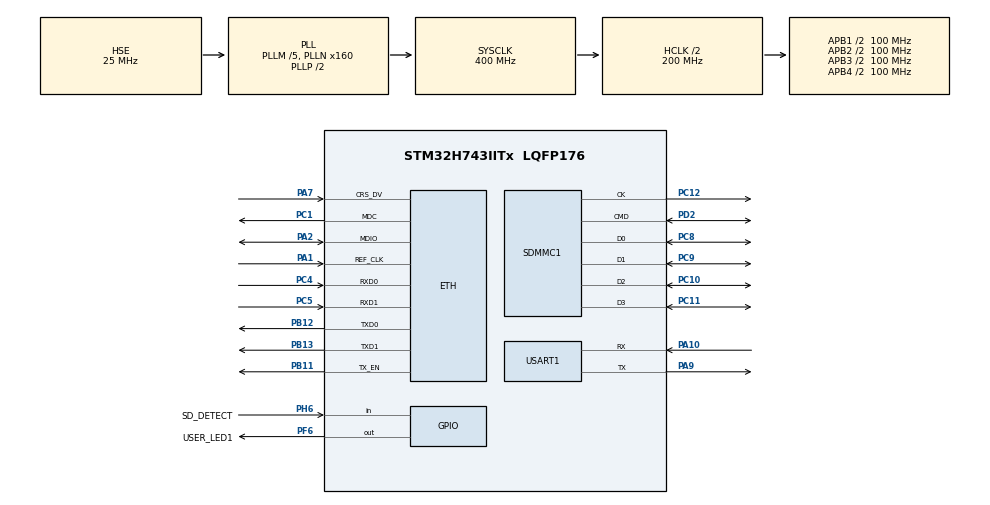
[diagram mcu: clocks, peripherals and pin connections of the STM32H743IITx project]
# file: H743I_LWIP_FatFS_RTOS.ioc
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CORTEX_M7.AccessPermission_S-Cortex_Memory_Protection_Unit_Region1_Settings_S=MPU_REGION_FULL_ACCESS
CORTEX_M7.AccessPermission_S-Cortex_Memory_Protection_Unit_Region2_Settings_S=MPU_REGION_FULL_ACCESS
CORTEX_M7.BaseAddress_S-Cortex_Memory_Protection_Unit_Region1_Settings_S=0x30020000
CORTEX_M7.BaseAddress_S-Cortex_Memory_Protection_Unit_Region2_Settings_S=0x30040000
CORTEX_M7.CPU_DCache=Enabled
CORTEX_M7.CPU_ICache=Enabled
CORTEX_M7.DisableExec_S-Cortex_Memory_Protection_Unit_Region1_Settings_S=MPU_INSTRUCTION_ACCESS_DISABLE
CORTEX_M7.DisableExec_S-Cortex_Memory_Protection_Unit_Region2_Settings_S=MPU_INSTRUCTION_ACCESS_DISABLE
CORTEX_M7.Enable_S-Cortex_Memory_Protection_Unit_Region1_Settings_S=MPU_REGION_ENABLE
CORTEX_M7.Enable_S-Cortex_Memory_Protection_Unit_Region2_Settings_S=MPU_REGION_ENABLE
CORTEX_M7.IsBufferable_S-Cortex_Memory_Protection_Unit_Region2_Settings_S=MPU_ACCESS_BUFFERABLE
CORTEX_M7.IsShareable_S-Cortex_Memory_Protection_Unit_Region2_Settings_S=MPU_ACCESS_SHAREABLE
CORTEX_M7.Size_S-Cortex_Memory_Protection_Unit_Region1_Settings_S=MPU_REGION_SIZE_128KB
CORTEX_M7.Size_S-Cortex_Memory_Protection_Unit_Region2_Settings_S=MPU_REGION_SIZE_512B
CORTEX_M7.TypeExtField_S-Cortex_Memory_Protection_Unit_Region1_Settings_S=MPU_TEX_LEVEL1
CORTEX_M7.default_mode_Activation=1
ETH.MediaInterface=HAL_ETH_RMII_MODE
ETH.RxBuffAddress=0x30040200
ETH.RxBuffLen=1536
ETH.RxDescAddress=0x30040000
ETH.TxDescAddress=0x30040100
FATFS.BSP.number=1
FATFS.USE_DMA_CODE_SD=1
FATFS._CODE_PAGE=936
FATFS._FS_TIMEOUT=0xfff
FATFS._USE_LFN=2
FATFS0.BSP.STBoard=false
FATFS0.BSP.api=Unknown
FATFS0.BSP.i2caddr=0
FATFS0.BSP.instance=PH6
FATFS0.BSP.ip=GPIO
FATFS0.BSP.mode=Input
FATFS0.BSP.name=Detect_SDIO
FATFS0.BSP.solution=PH6
FREERTOS.Tasks01=defaultTask,24,512,StartDefaultTask,Default,NULL,Dynamic,NULL,NULL
FREERTOS.configCHECK_FOR_STACK_OVERFLOW=1
FREERTOS.configMINIMAL_STACK_SIZE=512
FREERTOS.configTOTAL_HEAP_SIZE=30*1024
FREERTOS.configUSE_NEWLIB_REENTRANT=0
LWIP.BSP.number=1
LWIP.DEFAULT_THREAD_STACKSIZE=2048
LWIP.IP_ADDRESS=192.168.001.010
LWIP.LWIP_DHCP=0
LWIP.LWIP_RAM_HEAP_POINTER=0x30020000
LWIP.MEM_SIZE=131048
LWIP.NETMASK_ADDRESS=255.255.255.000
LWIP.TCPIP_THREAD_STACKSIZE=2048
LWIP.TCP_MSS=1460
LWIP.TCP_SND_BUF=5840
LWIP.TCP_SND_QUEUELEN=16
LWIP.TCP_WND=5840
LWIP.Version=v2.1.2_Cube
LWIP0.BSP.STBoard=false
LWIP0.BSP.api=BSP_COMPONENT_DRIVER
LWIP0.BSP.component=LAN8742
LWIP0.BSP.i2caddr=0
LWIP0.BSP.instance=LAN8742
LWIP0.BSP.name=Driver_PHY
LWIP0.BSP.semaphore=S_LAN8742
LWIP0.BSP.solution=LAN8742
Mcu.Family=STM32H7
Mcu.Name=STM32H743IITx
Mcu.Package=LQFP176
Mdma.MDMA_Channel0.Request0=SDMMC1_END_DATA
Mdma.MDMA_Channel0.RequestsNb=1
Mdma.MDMA_Channel0.SDMMC1_END_DATA.0.BlockCount=0
Mdma.MDMA_Channel0.SDMMC1_END_DATA.0.BlockDataLength=0
Mdma.MDMA_Channel0.SDMMC1_END_DATA.0.BufferTransferLength=1
Mdma.MDMA_Channel0.SDMMC1_END_DATA.0.CircularMode=MDMA_LINEAR_LIST
Mdma.MDMA_Channel0.SDMMC1_END_DATA.0.DataAlignment=MDMA_DATAALIGN_PACKENABLE
Mdma.MDMA_Channel0.SDMMC1_END_DATA.0.DestBlockAddressOffset=0
Mdma.MDMA_Channel0.SDMMC1_END_DATA.0.DestBurst=MDMA_DEST_BURST_SINGLE
Mdma.MDMA_Channel0.SDMMC1_END_DATA.0.DestDataSize=MDMA_DEST_DATASIZE_BYTE
Mdma.MDMA_Channel0.SDMMC1_END_DATA.0.DestinationInc=MDMA_DEST_INC_BYTE
Mdma.MDMA_Channel0.SDMMC1_END_DATA.0.DstAddress=0
Mdma.MDMA_Channel0.SDMMC1_END_DATA.0.Endianness=MDMA_LITTLE_ENDIANNESS_PRESERVE
Mdma.MDMA_Channel0.SDMMC1_END_DATA.0.Instance=MDMA_Channel0
Mdma.MDMA_Channel0.SDMMC1_END_DATA.0.MaskAddress=0
Mdma.MDMA_Channel0.SDMMC1_END_DATA.0.MaskData=0
Mdma.MDMA_Channel0.SDMMC1_END_DATA.0.Priority=MDMA_PRIORITY_LOW
Mdma.MDMA_Channel0.SDMMC1_END_DATA.0.Rank=First
Mdma.MDMA_Channel0.SDMMC1_END_DATA.0.SourceBlockAddressOffset=0
Mdma.MDMA_Channel0.SDMMC1_END_DATA.0.SourceBurst=MDMA_SOURCE_BURST_SINGLE
Mdma.MDMA_Channel0.SDMMC1_END_DATA.0.SourceDataSize=MDMA_SRC_DATASIZE_BYTE
Mdma.MDMA_Channel0.SDMMC1_END_DATA.0.SourceInc=MDMA_SRC_INC_BYTE
Mdma.MDMA_Channel0.SDMMC1_END_DATA.0.SrcAddress=0
Mdma.MDMA_Channel0.SDMMC1_END_DATA.0.TransferTriggerMode=MDMA_BUFFER_TRANSFER
Mdma.RequestSet0=MDMA_Channel0
Mdma.RequestSetsNb=1
NVIC.ETH_IRQn=true\:5\:0\:false\:false\:true\:true\:true\:true\:true
NVIC.MDMA_IRQn=true\:5\:0\:false\:false\:true\:true\:false\:true\:true
NVIC.PriorityGroup=NVIC_PRIORITYGROUP_4
NVIC.SDMMC1_IRQn=true\:5\:0\:false\:false\:true\:true\:true\:true\:true
NVIC.TIM6_DAC_IRQn=true\:15\:0\:false\:false\:true\:false\:false\:true\:true
NVIC.TimeBase=TIM6_DAC_IRQn
NVIC.TimeBaseIP=TIM6
PA1.GPIO_Speed=GPIO_SPEED_FREQ_VERY_HIGH
PA1.Mode=RMII
PA1.Signal=ETH_REF_CLK
PA10.Mode=Asynchronous
PA10.Signal=USART1_RX
PA13\ (JTMS/SWDIO).Mode=Serial_Wire
PA13\ (JTMS/SWDIO).Signal=DEBUG_JTMS-SWDIO
PA14\ (JTCK/SWCLK).Mode=Serial_Wire
PA14\ (JTCK/SWCLK).Signal=DEBUG_JTCK-SWCLK
PA2.GPIO_Speed=GPIO_SPEED_FREQ_VERY_HIGH
PA2.Mode=RMII
PA2.Signal=ETH_MDIO
PA7.GPIO_Speed=GPIO_SPEED_FREQ_VERY_HIGH
PA7.Mode=RMII
PA7.Signal=ETH_CRS_DV
PA9.Mode=Asynchronous
PA9.Signal=USART1_TX
PB11.GPIO_Speed=GPIO_SPEED_FREQ_VERY_HIGH
PB11.Mode=RMII
PB11.Signal=ETH_TX_EN
PB12.GPIO_Speed=GPIO_SPEED_FREQ_VERY_HIGH
PB12.Mode=RMII
PB12.Signal=ETH_TXD0
PB13.GPIO_Speed=GPIO_SPEED_FREQ_VERY_HIGH
PB13.Mode=RMII
PB13.Signal=ETH_TXD1
PC1.GPIO_Speed=GPIO_SPEED_FREQ_VERY_HIGH
PC1.Mode=RMII
PC1.Signal=ETH_MDC
PC10.GPIO_PuPd=GPIO_NOPULL
PC10.Mode=SD_4_bits_Wide_bus
PC10.Signal=SDMMC1_D2
PC11.GPIO_PuPd=GPIO_NOPULL
PC11.Mode=SD_4_bits_Wide_bus
PC11.Signal=SDMMC1_D3
PC12.GPIO_PuPd=GPIO_NOPULL
PC12.Mode=SD_4_bits_Wide_bus
PC12.Signal=SDMMC1_CK
PC4.GPIO_Speed=GPIO_SPEED_FREQ_VERY_HIGH
PC4.Mode=RMII
PC4.Signal=ETH_RXD0
PC5.GPIO_Speed=GPIO_SPEED_FREQ_VERY_HIGH
PC5.Mode=RMII
PC5.Signal=ETH_RXD1
PC8.GPIO_PuPd=GPIO_NOPULL
PC8.Mode=SD_4_bits_Wide_bus
PC8.Signal=SDMMC1_D0
PC9.GPIO_PuPd=GPIO_NOPULL
PC9.Mode=SD_4_bits_Wide_bus
PC9.Signal=SDMMC1_D1
PD2.GPIO_PuPd=GPIO_NOPULL
PD2.Mode=SD_4_bits_Wide_bus
PD2.Signal=SDMMC1_CMD
PF6.GPIO_Label=USER_LED1
PF6.Signal=GPIO_Output
PH0-OSC_IN\ (PH0).Mode=HSE-External-Oscillator
PH0-OSC_IN\ (PH0).Signal=RCC_OSC_IN
PH1-OSC_OUT\ (PH1).Mode=HSE-External-Oscillator
PH1-OSC_OUT\ (PH1).Signal=RCC_OSC_OUT
PH6.GPIO_Label=SD_DETECT
PH6.Signal=GPIO_Input
ProjectManager.HeapSize=0x200
ProjectManager.StackSize=0x1000
ProjectManager.TargetToolchain=MDK-ARM V5
RCC.ADCFreq_Value=300000000
RCC.APB1Freq_Value=100000000
RCC.APB2Freq_Value=100000000
RCC.APB3Freq_Value=100000000
RCC.APB4Freq_Value=100000000
RCC.CortexFreq_Value=400000000
RCC.D1PPRE=RCC_APB3_DIV2
RCC.D2PPRE1=RCC_APB1_DIV2
RCC.D2PPRE2=RCC_APB2_DIV2
RCC.D3PPRE=RCC_APB4_DIV2
RCC.DIVM1=5
RCC.DIVM2=5
RCC.DIVN1=160
RCC.DIVN2=120
RCC.DIVQ1=16
RCC.DIVQ2=6
RCC.DIVR2=6
RCC.HCLKFreq_Value=200000000
RCC.HPRE=RCC_HCLK_DIV2
RCC.HSE_VALUE=25000000
RCC.PLLSourceVirtual=RCC_PLLSOURCE_HSE
RCC.PWR_Regulator_Voltage_Scale=PWR_REGULATOR_VOLTAGE_SCALE1
RCC.SDMMC1CLockSelection=RCC_SDMMCCLKSOURCE_PLL2
RCC.SYSCLKFreq_VALUE=400000000
RCC.SYSCLKSource=RCC_SYSCLKSOURCE_PLLCLK
RCC.USBFreq_Value=50000000
SDMMC1.ClockDiv=10
SDMMC1.ClockPowerSave=SDMMC_CLOCK_POWER_SAVE_DISABLE
USART1.VirtualMode-Asynchronous=VM_ASYNC
VP_FATFS_VS_SDIO.Mode=SDIO
VP_FREERTOS_VS_CMSIS_V2.Mode=CMSIS_V2
VP_LWIP_VS_Enabled.Mode=Enabled
VP_SYS_VS_tim6.Mode=TIM6
board=custom

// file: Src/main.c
/* USER CODE BEGIN Header */
/**
  ******************************************************************************
  * @file           : main.c
  * @brief          : Main program body
  ******************************************************************************
  * @attention
  *
  * Copyright (c) 2024 STMicroelectronics.
  * All rights reserved.
  *
  * This software is licensed under terms that can be found in the LICENSE file
  * in the root directory of this software component.
  * If no LICENSE file comes with this software, it is provided AS-IS.
  *
  ******************************************************************************
  */
/* USER CODE END Header */
#include "main.h"
#include "cmsis_os.h"
#include "fatfs.h"
#include "lwip.h"

/* USER CODE BEGIN Includes */
/* ETH_CODE: add lwiperf, see comment in StartDefaultTask function */
#include "lwip/apps/lwiperf.h"
#include <stdio.h>
/* USER CODE END Includes */

SD_HandleTypeDef hsd1;

UART_HandleTypeDef huart1;

MDMA_HandleTypeDef hmdma_mdma_channel40_sdmmc1_end_data_0;
/* Definitions for defaultTask */
osThreadId_t defaultTaskHandle;
const osThreadAttr_t defaultTask_attributes = {
  .name = "defaultTask",
  .stack_size = 512 * 4,
  .priority = (osPriority_t) osPriorityNormal,
};

void SystemClock_Config(void);
static void MPU_Config(void);
static void MX_GPIO_Init(void);
static void MX_MDMA_Init(void);
static void MX_USART1_UART_Init(void);
static void MX_SDMMC1_SD_Init(void);
void StartDefaultTask(void *argument);

/* USER CODE BEGIN 0 */
#ifdef __GNUC__
#define PUTCHAR_PROTOTYPE int __io_putchar(int ch)
#else
#define PUTCHAR_PROTOTYPE int fputc(int ch, FILE *f)
#endif /* __GNUC__ */

PUTCHAR_PROTOTYPE
{
	HAL_UART_Transmit(&huart1, (uint8_t *)&ch, 1, HAL_MAX_DELAY);
	return ch;
}
/* USER CODE END 0 */

int main(void)
{

  /* MPU Configuration--------------------------------------------------------*/
  MPU_Config();

  /* Enable I-Cache---------------------------------------------------------*/
  SCB_EnableICache();

  /* Enable D-Cache---------------------------------------------------------*/
  //SCB_EnableDCache();

  /* MCU Configuration--------------------------------------------------------*/

  /* Reset of all peripherals, Initializes the Flash interface and the Systick. */
  HAL_Init();

  /* Configure the system clock */
  SystemClock_Config();

  /* Initialize all configured peripherals */
  MX_GPIO_Init();
  MX_MDMA_Init();
  MX_USART1_UART_Init();
  MX_SDMMC1_SD_Init();
  MX_FATFS_Init();

  /* Init scheduler */
  osKernelInitialize();

  /* Create the thread(s) */
  /* creation of defaultTask */
  defaultTaskHandle = osThreadNew(StartDefaultTask, NULL, &defaultTask_attributes);

  /* Start scheduler */
  osKernelStart();

  /* We should never get here as control is now taken by the scheduler */
  /* Infinite loop */
  while (1)
  {

  }
}

void SystemClock_Config(void)
{
  RCC_OscInitTypeDef RCC_OscInitStruct = {0};
  RCC_ClkInitTypeDef RCC_ClkInitStruct = {0};

  /** Supply configuration update enable
  */
  HAL_PWREx_ConfigSupply(PWR_LDO_SUPPLY);

  /** Configure the main internal regulator output voltage
  */
  __HAL_PWR_VOLTAGESCALING_CONFIG(PWR_REGULATOR_VOLTAGE_SCALE1);

  while(!__HAL_PWR_GET_FLAG(PWR_FLAG_VOSRDY)) {}

  /** Macro to configure the PLL clock source
  */
  __HAL_RCC_PLL_PLLSOURCE_CONFIG(RCC_PLLSOURCE_HSE);

  /** Initializes the RCC Oscillators according to the specified parameters
  * in the RCC_OscInitTypeDef structure.
  */
  RCC_OscInitStruct.OscillatorType = RCC_OSCILLATORTYPE_HSE;
  RCC_OscInitStruct.HSEState = RCC_HSE_ON;
  RCC_OscInitStruct.PLL.PLLState = RCC_PLL_ON;
  RCC_OscInitStruct.PLL.PLLSource = RCC_PLLSOURCE_HSE;
  RCC_OscInitStruct.PLL.PLLM = 5;
  RCC_OscInitStruct.PLL.PLLN = 160;
  RCC_OscInitStruct.PLL.PLLP = 2;
  RCC_OscInitStruct.PLL.PLLQ = 16;
  RCC_OscInitStruct.PLL.PLLR = 2;
  RCC_OscInitStruct.PLL.PLLRGE = RCC_PLL1VCIRANGE_2;
  RCC_OscInitStruct.PLL.PLLVCOSEL = RCC_PLL1VCOWIDE;
  RCC_OscInitStruct.PLL.PLLFRACN = 0;
  if (HAL_RCC_OscConfig(&RCC_OscInitStruct) != HAL_OK)
  {
    Error_Handler();
  }

  /** Initializes the CPU, AHB and APB buses clocks
  */
  RCC_ClkInitStruct.ClockType = RCC_CLOCKTYPE_HCLK|RCC_CLOCKTYPE_SYSCLK
                              |RCC_CLOCKTYPE_PCLK1|RCC_CLOCKTYPE_PCLK2
                              |RCC_CLOCKTYPE_D3PCLK1|RCC_CLOCKTYPE_D1PCLK1;
  RCC_ClkInitStruct.SYSCLKSource = RCC_SYSCLKSOURCE_PLLCLK;
  RCC_ClkInitStruct.SYSCLKDivider = RCC_SYSCLK_DIV1;
  RCC_ClkInitStruct.AHBCLKDivider = RCC_HCLK_DIV2;
  RCC_ClkInitStruct.APB3CLKDivider = RCC_APB3_DIV2;
  RCC_ClkInitStruct.APB1CLKDivider = RCC_APB1_DIV2;
  RCC_ClkInitStruct.APB2CLKDivider = RCC_APB2_DIV2;
  RCC_ClkInitStruct.APB4CLKDivider = RCC_APB4_DIV2;

  if (HAL_RCC_ClockConfig(&RCC_ClkInitStruct, FLASH_LATENCY_2) != HAL_OK)
  {
    Error_Handler();
  }
}

static void MX_SDMMC1_SD_Init(void)
{

  hsd1.Instance = SDMMC1;
  hsd1.Init.ClockEdge = SDMMC_CLOCK_EDGE_RISING;
  hsd1.Init.ClockPowerSave = SDMMC_CLOCK_POWER_SAVE_DISABLE;
  hsd1.Init.BusWide = SDMMC_BUS_WIDE_4B;
  hsd1.Init.HardwareFlowControl = SDMMC_HARDWARE_FLOW_CONTROL_DISABLE;
  hsd1.Init.ClockDiv = 10;

}

static void MX_USART1_UART_Init(void)
{

  huart1.Instance = USART1;
  huart1.Init.BaudRate = 115200;
  huart1.Init.WordLength = UART_WORDLENGTH_8B;
  huart1.Init.StopBits = UART_STOPBITS_1;
  huart1.Init.Parity = UART_PARITY_NONE;
  huart1.Init.Mode = UART_MODE_TX_RX;
  huart1.Init.HwFlowCtl = UART_HWCONTROL_NONE;
  huart1.Init.OverSampling = UART_OVERSAMPLING_16;
  huart1.Init.OneBitSampling = UART_ONE_BIT_SAMPLE_DISABLE;
  huart1.Init.ClockPrescaler = UART_PRESCALER_DIV1;
  huart1.AdvancedInit.AdvFeatureInit = UART_ADVFEATURE_NO_INIT;
  if (HAL_UART_Init(&huart1) != HAL_OK)
  {
    Error_Handler();
  }
  if (HAL_UARTEx_SetTxFifoThreshold(&huart1, UART_TXFIFO_THRESHOLD_1_8) != HAL_OK)
  {
    Error_Handler();
  }
  if (HAL_UARTEx_SetRxFifoThreshold(&huart1, UART_RXFIFO_THRESHOLD_1_8) != HAL_OK)
  {
    Error_Handler();
  }
  if (HAL_UARTEx_DisableFifoMode(&huart1) != HAL_OK)
  {
    Error_Handler();
  }

}

/**
  * Enable MDMA controller clock
  * Configure MDMA for global transfers
  *   hmdma_mdma_channel40_sdmmc1_end_data_0
  */
static void MX_MDMA_Init(void)
{

  /* MDMA controller clock enable */
  __HAL_RCC_MDMA_CLK_ENABLE();
  /* Local variables */

  /* Configure MDMA channel MDMA_Channel0 */
  /* Configure MDMA request hmdma_mdma_channel40_sdmmc1_end_data_0 on MDMA_Channel0 */
  hmdma_mdma_channel40_sdmmc1_end_data_0.Instance = MDMA_Channel0;
  hmdma_mdma_channel40_sdmmc1_end_data_0.Init.Request = MDMA_REQUEST_SDMMC1_END_DATA;
  hmdma_mdma_channel40_sdmmc1_end_data_0.Init.TransferTriggerMode = MDMA_BUFFER_TRANSFER;
  hmdma_mdma_channel40_sdmmc1_end_data_0.Init.Priority = MDMA_PRIORITY_LOW;
  hmdma_mdma_channel40_sdmmc1_end_data_0.Init.Endianness = MDMA_LITTLE_ENDIANNESS_PRESERVE;
  hmdma_mdma_channel40_sdmmc1_end_data_0.Init.SourceInc = MDMA_SRC_INC_BYTE;
  hmdma_mdma_channel40_sdmmc1_end_data_0.Init.DestinationInc = MDMA_DEST_INC_BYTE;
  hmdma_mdma_channel40_sdmmc1_end_data_0.Init.SourceDataSize = MDMA_SRC_DATASIZE_BYTE;
  hmdma_mdma_channel40_sdmmc1_end_data_0.Init.DestDataSize = MDMA_DEST_DATASIZE_BYTE;
  hmdma_mdma_channel40_sdmmc1_end_data_0.Init.DataAlignment = MDMA_DATAALIGN_PACKENABLE;
  hmdma_mdma_channel40_sdmmc1_end_data_0.Init.BufferTransferLength = 1;
  hmdma_mdma_channel40_sdmmc1_end_data_0.Init.SourceBurst = MDMA_SOURCE_BURST_SINGLE;
  hmdma_mdma_channel40_sdmmc1_end_data_0.Init.DestBurst = MDMA_DEST_BURST_SINGLE;
  hmdma_mdma_channel40_sdmmc1_end_data_0.Init.SourceBlockAddressOffset = 0;
  hmdma_mdma_channel40_sdmmc1_end_data_0.Init.DestBlockAddressOffset = 0;
  if (HAL_MDMA_Init(&hmdma_mdma_channel40_sdmmc1_end_data_0) != HAL_OK)
  {
    Error_Handler();
  }

  /* Configure post request address and data masks */
  if (HAL_MDMA_ConfigPostRequestMask(&hmdma_mdma_channel40_sdmmc1_end_data_0, 0, 0) != HAL_OK)
  {
    Error_Handler();
  }

  /* MDMA interrupt initialization */
  /* MDMA_IRQn interrupt configuration */
  HAL_NVIC_SetPriority(MDMA_IRQn, 5, 0);
  HAL_NVIC_EnableIRQ(MDMA_IRQn);

}

static void MX_GPIO_Init(void)
{
  GPIO_InitTypeDef GPIO_InitStruct = {0};

  /* GPIO Ports Clock Enable */
  __HAL_RCC_GPIOF_CLK_ENABLE();
  __HAL_RCC_GPIOH_CLK_ENABLE();
  __HAL_RCC_GPIOC_CLK_ENABLE();
  __HAL_RCC_GPIOA_CLK_ENABLE();
  __HAL_RCC_GPIOB_CLK_ENABLE();
  __HAL_RCC_GPIOD_CLK_ENABLE();

  /*Configure GPIO pin Output Level */
  HAL_GPIO_WritePin(USER_LED1_GPIO_Port, USER_LED1_Pin, GPIO_PIN_RESET);

  /*Configure GPIO pin : USER_LED1_Pin */
  GPIO_InitStruct.Pin = USER_LED1_Pin;
  GPIO_InitStruct.Mode = GPIO_MODE_OUTPUT_PP;
  GPIO_InitStruct.Pull = GPIO_NOPULL;
  GPIO_InitStruct.Speed = GPIO_SPEED_FREQ_LOW;
  HAL_GPIO_Init(USER_LED1_GPIO_Port, &GPIO_InitStruct);

  /*Configure GPIO pin : SD_DETECT_Pin */
  GPIO_InitStruct.Pin = SD_DETECT_Pin;
  GPIO_InitStruct.Mode = GPIO_MODE_INPUT;
  GPIO_InitStruct.Pull = GPIO_NOPULL;
  HAL_GPIO_Init(SD_DETECT_GPIO_Port, &GPIO_InitStruct);

}

/* USER CODE BEGIN 4 */
uint32_t byteswritten;                /* File write counts */
uint32_t bytesread;                   /* File read counts */
uint8_t wtext[] = "This is STM32 working with FatFs"; /* File write buffer */
uint8_t rtext[100];                     /* File read buffers */
char filename[] = "STM32cube.txt";
/* USER CODE END 4 */

void StartDefaultTask(void *argument)
{
  /* init code for LWIP */
  MX_LWIP_Init();
  /* USER CODE BEGIN 5 */
		/* ETH_CODE: Adding lwiperf to measure TCP/IP performance.
     * iperf 2.0.6 (or older?) is required for the tests. Newer iperf2 versions
     * might work without data check, but they send different headers.
     * iperf3 is not compatible at all.
     * Adding lwiperf.c file to the project is necessary.
     * The default include path should already contain
     * 'lwip/apps/lwiperf.h'
     */
    LOCK_TCPIP_CORE();
    lwiperf_start_tcp_server_default(NULL, NULL);

    ip4_addr_t remote_addr;
    IP4_ADDR(&remote_addr, 192, 168, 1, 1);
    lwiperf_start_tcp_client_default(&remote_addr, NULL, NULL);
    UNLOCK_TCPIP_CORE();
  /* Infinite loop */

	printf("\r\n ****** Start FatFs Test ******\r\n\r\n");

	/*##-1- Register the file system object to the FatFs module ##############*/
	retSD = f_mount(&SDFatFS, "", 0);
	if(retSD)
	{
			printf(" mount error : %d \r\n",retSD);
			Error_Handler();
	}
	else
			printf(" mount sucess!!! \r\n");

	/*##-2- Create and Open new text file objects with write access ######*/
	retSD = f_open(&SDFile, filename, FA_CREATE_ALWAYS | FA_WRITE);
	if(retSD)
			printf(" open file error : %d\r\n",retSD);
	else
			printf(" open file sucess!!! \r\n");

	/*##-3- Write data to the text files ###############################*/
	retSD = f_write(&SDFile, wtext, sizeof(wtext), (void *)&byteswritten);
	if(retSD)
			printf(" write file error : %d\r\n",retSD);
	else
	{
			printf(" write file sucess!!! \r\n");
			printf(" write Data : %s\r\n",wtext);
	}

	/*##-4- Close the open text files ################################*/
	retSD = f_close(&SDFile);
	if(retSD)
			printf(" close error : %d\r\n",retSD);
	else
			printf(" close sucess!!! \r\n");

	/*##-5- Open the text files object with read access ##############*/
	retSD = f_open(&SDFile, filename, FA_READ);
	if(retSD)
			printf(" open file error : %d\r\n",retSD);
	else
			printf(" open file sucess!!! \r\n");

	/*##-6- Read data from the text files ##########################*/
	retSD = f_read(&SDFile, rtext, sizeof(rtext), (UINT*)&bytesread);
	if(retSD)
			printf(" read error!!! %d\r\n",retSD);
	else
	{
			printf(" read sucess!!! \r\n");
			printf(" read Data : %s\r\n",rtext);
	}

	/*##-7- Close the open text files ############################*/
	retSD = f_close(&SDFile);
	if(retSD)
			printf(" close error!!! %d\r\n",retSD);
	else
			printf(" close sucess!!! \r\n");

	/*##-8- Compare read data with the expected data ############*/
	if(bytesread == byteswritten)
	{
			printf(" FatFs is working well!!!\r\n");
	}
  for(;;)
  {
    osDelay(1);
  }
  /* USER CODE END 5 */
}

/* MPU Configuration */

void MPU_Config(void)
{
  MPU_Region_InitTypeDef MPU_InitStruct = {0};

  /* Disables the MPU */
  HAL_MPU_Disable();

  /** Initializes and configures the Region and the memory to be protected
  */
  MPU_InitStruct.Enable = MPU_REGION_ENABLE;
  MPU_InitStruct.Number = MPU_REGION_NUMBER0;
  MPU_InitStruct.BaseAddress = 0x0;
  MPU_InitStruct.Size = MPU_REGION_SIZE_4GB;
  MPU_InitStruct.SubRegionDisable = 0x87;
  MPU_InitStruct.TypeExtField = MPU_TEX_LEVEL0;
  MPU_InitStruct.AccessPermission = MPU_REGION_NO_ACCESS;
  MPU_InitStruct.DisableExec = MPU_INSTRUCTION_ACCESS_DISABLE;
  MPU_InitStruct.IsShareable = MPU_ACCESS_SHAREABLE;
  MPU_InitStruct.IsCacheable = MPU_ACCESS_NOT_CACHEABLE;
  MPU_InitStruct.IsBufferable = MPU_ACCESS_NOT_BUFFERABLE;

  HAL_MPU_ConfigRegion(&MPU_InitStruct);

  /** Initializes and configures the Region and the memory to be protected
  */
  MPU_InitStruct.Number = MPU_REGION_NUMBER1;
  MPU_InitStruct.BaseAddress = 0x30020000;
  MPU_InitStruct.Size = MPU_REGION_SIZE_128KB;
  MPU_InitStruct.SubRegionDisable = 0x0;
  MPU_InitStruct.TypeExtField = MPU_TEX_LEVEL1;
  MPU_InitStruct.AccessPermission = MPU_REGION_FULL_ACCESS;
  MPU_InitStruct.IsShareable = MPU_ACCESS_NOT_SHAREABLE;

  HAL_MPU_ConfigRegion(&MPU_InitStruct);

  /** Initializes and configures the Region and the memory to be protected
  */
  MPU_InitStruct.Number = MPU_REGION_NUMBER2;
  MPU_InitStruct.BaseAddress = 0x30040000;
  MPU_InitStruct.Size = MPU_REGION_SIZE_512B;
  MPU_InitStruct.TypeExtField = MPU_TEX_LEVEL0;
  MPU_InitStruct.IsShareable = MPU_ACCESS_SHAREABLE;
  MPU_InitStruct.IsBufferable = MPU_ACCESS_BUFFERABLE;

  HAL_MPU_ConfigRegion(&MPU_InitStruct);
  /* Enables the MPU */
  HAL_MPU_Enable(MPU_PRIVILEGED_DEFAULT);

}

void HAL_TIM_PeriodElapsedCallback(TIM_HandleTypeDef *htim)
{
  if (htim->Instance == TIM6) {
    HAL_IncTick();
  }
}

void Error_Handler(void)
{
  __disable_irq();
  while (1)
  {
  }
}
